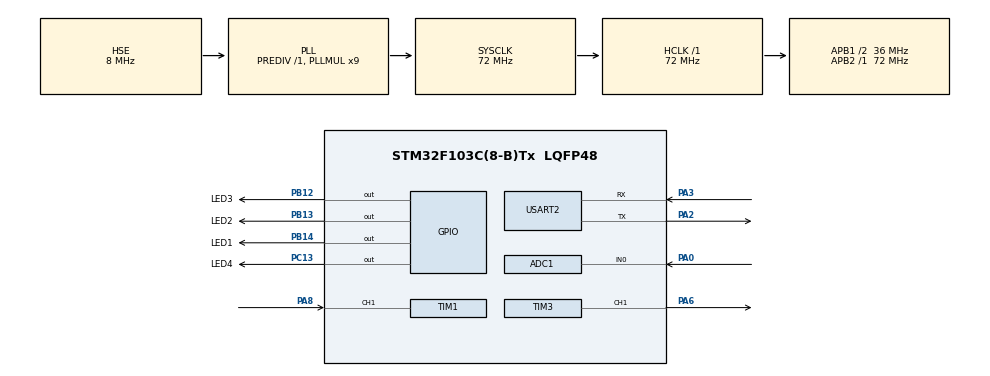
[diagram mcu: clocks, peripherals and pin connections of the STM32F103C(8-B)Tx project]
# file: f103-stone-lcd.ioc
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ADC1.Channel-0\#ChannelRegularConversion=ADC_CHANNEL_0
ADC1.NbrOfConversionFlag=1
ADC1.Rank-0\#ChannelRegularConversion=1
ADC1.SamplingTime-0\#ChannelRegularConversion=ADC_SAMPLETIME_71CYCLES_5
ADC1.master=1
Mcu.Family=STM32F1
Mcu.Name=STM32F103C(8-B)Tx
Mcu.Package=LQFP48
NVIC.PriorityGroup=NVIC_PRIORITYGROUP_4
NVIC.TIM4_IRQn=true\:0\:0\:false\:false\:true\:true\:true
NVIC.USART2_IRQn=true\:0\:0\:false\:false\:true\:true\:true
PA0-WKUP.Signal=ADCx_IN0
PA13.Mode=Serial_Wire
PA13.Signal=SYS_JTMS-SWDIO
PA14.Mode=Serial_Wire
PA14.Signal=SYS_JTCK-SWCLK
PA2.Mode=Asynchronous
PA2.Signal=USART2_TX
PA3.Mode=Asynchronous
PA3.Signal=USART2_RX
PA6.Signal=S_TIM3_CH1
PA8.Signal=S_TIM1_CH1
PB12.GPIO_Label=LED3
PB12.Signal=GPIO_Output
PB13.GPIO_Label=LED2
PB13.Signal=GPIO_Output
PB14.GPIO_Label=LED1
PB14.Signal=GPIO_Output
PC13-TAMPER-RTC.GPIO_Label=LED4
PC13-TAMPER-RTC.Signal=GPIO_Output
PD0-OSC_IN.Mode=HSE-External-Oscillator
PD0-OSC_IN.Signal=RCC_OSC_IN
PD1-OSC_OUT.Mode=HSE-External-Oscillator
PD1-OSC_OUT.Signal=RCC_OSC_OUT
ProjectManager.HeapSize=0x200
ProjectManager.StackSize=0x400
ProjectManager.TargetToolchain=STM32CubeIDE
RCC.ADCPresc=RCC_ADCPCLK2_DIV6
RCC.AHBFreq_Value=72000000
RCC.APB1CLKDivider=RCC_HCLK_DIV2
RCC.APB1Freq_Value=36000000
RCC.APB1TimFreq_Value=72000000
RCC.APB2Freq_Value=72000000
RCC.APB2TimFreq_Value=72000000
RCC.HCLKFreq_Value=72000000
RCC.PLLMUL=RCC_PLL_MUL9
RCC.PLLSourceVirtual=RCC_PLLSOURCE_HSE
RCC.SYSCLKFreq_VALUE=72000000
RCC.SYSCLKSource=RCC_SYSCLKSOURCE_PLLCLK
RCC.USBFreq_Value=72000000
SH.ADCx_IN0.0=ADC1_IN0,IN0
SH.S_TIM1_CH1.0=TIM1_CH1,Input_Capture1_from_TI1
SH.S_TIM3_CH1.0=TIM3_CH1,PWM Generation1 CH1
TIM1.Channel-Input_Capture1_from_TI1=TIM_CHANNEL_1
TIM3.Channel-PWM\ Generation1\ CH1=TIM_CHANNEL_1
TIM3.Period=999
TIM3.Prescaler=71
TIM4.Period=249
TIM4.Prescaler=287
USART2.VirtualMode=VM_ASYNC
VP_TIM4_VS_ClockSourceINT.Mode=Internal
board=custom

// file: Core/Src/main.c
/* USER CODE BEGIN Header */
/**
  ******************************************************************************
  * @file           : main.c
  * @brief          : Main program body
  ******************************************************************************
  * @attention
  *
  * <h2><center>&copy; Copyright (c) 2020 STMicroelectronics.
  * All rights reserved.</center></h2>
  *
  * This software component is licensed by ST under BSD 3-Clause license,
  * the "License"; You may not use this file except in compliance with the
  * License. You may obtain a copy of the License at:
  *                        opensource.org/licenses/BSD-3-Clause
  *
  ******************************************************************************
  */
/* USER CODE END Header */

#include "main.h"

/* USER CODE BEGIN PD */
#define BUFF_SIZE 9
/* USER CODE END PD */

ADC_HandleTypeDef hadc1;

TIM_HandleTypeDef htim1;
TIM_HandleTypeDef htim3;
TIM_HandleTypeDef htim4;

UART_HandleTypeDef huart2;

/* USER CODE BEGIN PV */
uint64_t mMilis = 0, lastTime1 = 0;
uint8_t readData[BUFF_SIZE];

uint8_t uartFlag = 0;

uint16_t adcVal;

// data packets for sending to screen using uart
unsigned char arr[] = {
  0xA5, 0x5A, 0x05, 0x82, 0x19, 0x9A, 0x00, 0x20
};

// (LED Yandi) array
unsigned char arrOn[] = {
  0xA5,0x5A,0x0C,0x82,0x1A,0x1B,0x4C,0x45,0x44,0x20,0x59,0x41,0x4E,0x44,0x49
};

// (LED Sondu) array
unsigned char arrOff[] = {
  0xA5,0x5A,0x0C,0x82,0x1A,0x1B,0x4C,0x45,0x44,0x20,0x53,0x4F,0x4E,0x44,0x55
};
/* USER CODE END PV */

void SystemClock_Config(void);
static void MX_GPIO_Init(void);
static void MX_ADC1_Init(void);
static void MX_TIM4_Init(void);
static void MX_USART2_UART_Init(void);
static void MX_TIM1_Init(void);
static void MX_TIM3_Init(void);
/* USER CODE BEGIN PFP */

// if tim4 interrupt occured increase millis variable
void HAL_TIM_PeriodElapsedCallback(TIM_HandleTypeDef *htim)
{
	if(htim == &htim4)
	{
		mMilis++;
	}
}

// if data received from uart set uart flag variable
void HAL_UART_RxCpltCallback(UART_HandleTypeDef *huart)
{
	uartFlag = 1;
}
/* USER CODE END PFP */

int main(void)
{

  /* MCU Configuration--------------------------------------------------------*/

  /* Reset of all peripherals, Initializes the Flash interface and the Systick. */
  HAL_Init();

  /* Configure the system clock */
  SystemClock_Config();

  /* Initialize all configured peripherals */
  MX_GPIO_Init();
  MX_ADC1_Init();
  MX_TIM4_Init();
  MX_USART2_UART_Init();
  MX_TIM1_Init();
  MX_TIM3_Init();
  /* USER CODE BEGIN 2 */
  HAL_TIM_Base_Start_IT(&htim4);						// start millis timer
  HAL_UART_Receive_IT(&huart2, readData, BUFF_SIZE);	// start receiving uart using interrupt
  HAL_TIM_PWM_Start(&htim3, TIM_CHANNEL_1);				// start pwm
  /* USER CODE END 2 */

  /* Infinite loop */
  /* USER CODE BEGIN WHILE */
  while (1)
  {
	  HAL_UART_Receive_IT(&huart2, readData, BUFF_SIZE);			// start receiving uart using interrupt

	  if(uartFlag)							// if uart packet received
	  {
		  if(readData[0] != 0xA5 && readData[1] != 0x5A) continue;	// check packet first and second bytes

		  uint16_t mAdr = (readData[4] << 8) | (readData[5]);		// get adress from received packet

		  uint16_t mData = (readData[7] << 8) | (readData[8]);		// get value from recived packet

		  switch (mAdr)					// choose adress
		  {
		  	  case 0x16A1:                //button1 adress
		  		HAL_GPIO_TogglePin(LED1_GPIO_Port, LED1_Pin);
		        break;
		      case 0x16A2:                //button2 adress
			  	HAL_GPIO_TogglePin(LED2_GPIO_Port, LED2_Pin);
		        break;
		      case 0x1992:                //switch adress
		    	HAL_GPIO_WritePin(LED3_GPIO_Port, LED3_Pin, (mAdr == 1 ? GPIO_PIN_SET : GPIO_PIN_RESET));
		        if(mData)                 //send string value according to switch status
		        {
		        	HAL_UART_Transmit(&huart2, arrOn, sizeof(arrOn), 1000);
		        }else{
		        	HAL_UART_Transmit(&huart2, arrOff, sizeof(arrOff), 1000);
		        }
		        break;
		  case 0x4001:					  // get slider value and write pwm
			  __HAL_TIM_SET_COMPARE(&htim3, TIM_CHANNEL_1, mData * 10);
			  break;
		  }
		  uartFlag = 0;				// clear uart flag variable
	  }

	  HAL_ADC_Start(&hadc1);					// start adc conversion
	  HAL_ADC_PollForConversion(&hadc1, 1000);		// wait for conversion end
	  adcVal = HAL_ADC_GetValue(&hadc1);			// get adc value
	  adcVal = adcVal / 8;						// scale adc value
	  HAL_ADC_Stop(&hadc1);						// stop adc conversion

	  if(mMilis - lastTime1 > 100)				// make in every 100ms
	  {
		  HAL_GPIO_TogglePin(LED4_GPIO_Port, LED4_Pin);

		  // send high and low bytes of adc value in different bytes
		  uint8_t sendValL = adcVal & 0xFF;
		  uint8_t sendValM = (adcVal & 0xFF00) >> 8;
		  arr[6] = sendValM;
		  arr[7] = sendValL;

		  HAL_UART_Transmit(&huart2, arr, sizeof(arr), 1000);			// send adc value with UART to show in gauge
		  lastTime1 = mMilis;
	  }
    /* USER CODE END WHILE */

  }
}

void SystemClock_Config(void)
{
  RCC_OscInitTypeDef RCC_OscInitStruct = {0};
  RCC_ClkInitTypeDef RCC_ClkInitStruct = {0};
  RCC_PeriphCLKInitTypeDef PeriphClkInit = {0};

  /** Initializes the CPU, AHB and APB busses clocks
  */
  RCC_OscInitStruct.OscillatorType = RCC_OSCILLATORTYPE_HSE;
  RCC_OscInitStruct.HSEState = RCC_HSE_ON;
  RCC_OscInitStruct.HSEPredivValue = RCC_HSE_PREDIV_DIV1;
  RCC_OscInitStruct.HSIState = RCC_HSI_ON;
  RCC_OscInitStruct.PLL.PLLState = RCC_PLL_ON;
  RCC_OscInitStruct.PLL.PLLSource = RCC_PLLSOURCE_HSE;
  RCC_OscInitStruct.PLL.PLLMUL = RCC_PLL_MUL9;
  if (HAL_RCC_OscConfig(&RCC_OscInitStruct) != HAL_OK)
  {
    Error_Handler();
  }
  /** Initializes the CPU, AHB and APB busses clocks
  */
  RCC_ClkInitStruct.ClockType = RCC_CLOCKTYPE_HCLK|RCC_CLOCKTYPE_SYSCLK
                              |RCC_CLOCKTYPE_PCLK1|RCC_CLOCKTYPE_PCLK2;
  RCC_ClkInitStruct.SYSCLKSource = RCC_SYSCLKSOURCE_PLLCLK;
  RCC_ClkInitStruct.AHBCLKDivider = RCC_SYSCLK_DIV1;
  RCC_ClkInitStruct.APB1CLKDivider = RCC_HCLK_DIV2;
  RCC_ClkInitStruct.APB2CLKDivider = RCC_HCLK_DIV1;

  if (HAL_RCC_ClockConfig(&RCC_ClkInitStruct, FLASH_LATENCY_2) != HAL_OK)
  {
    Error_Handler();
  }
  PeriphClkInit.PeriphClockSelection = RCC_PERIPHCLK_ADC;
  PeriphClkInit.AdcClockSelection = RCC_ADCPCLK2_DIV6;
  if (HAL_RCCEx_PeriphCLKConfig(&PeriphClkInit) != HAL_OK)
  {
    Error_Handler();
  }
}

static void MX_ADC1_Init(void)
{

  ADC_ChannelConfTypeDef sConfig = {0};

  /** Common config
  */
  hadc1.Instance = ADC1;
  hadc1.Init.ScanConvMode = ADC_SCAN_DISABLE;
  hadc1.Init.ContinuousConvMode = DISABLE;
  hadc1.Init.DiscontinuousConvMode = DISABLE;
  hadc1.Init.ExternalTrigConv = ADC_SOFTWARE_START;
  hadc1.Init.DataAlign = ADC_DATAALIGN_RIGHT;
  hadc1.Init.NbrOfConversion = 1;
  if (HAL_ADC_Init(&hadc1) != HAL_OK)
  {
    Error_Handler();
  }
  /** Configure Regular Channel
  */
  sConfig.Channel = ADC_CHANNEL_0;
  sConfig.Rank = ADC_REGULAR_RANK_1;
  sConfig.SamplingTime = ADC_SAMPLETIME_71CYCLES_5;
  if (HAL_ADC_ConfigChannel(&hadc1, &sConfig) != HAL_OK)
  {
    Error_Handler();
  }

}

static void MX_TIM1_Init(void)
{

  TIM_MasterConfigTypeDef sMasterConfig = {0};
  TIM_IC_InitTypeDef sConfigIC = {0};

  htim1.Instance = TIM1;
  htim1.Init.Prescaler = 0;
  htim1.Init.CounterMode = TIM_COUNTERMODE_UP;
  htim1.Init.Period = 0;
  htim1.Init.ClockDivision = TIM_CLOCKDIVISION_DIV1;
  htim1.Init.RepetitionCounter = 0;
  htim1.Init.AutoReloadPreload = TIM_AUTORELOAD_PRELOAD_DISABLE;
  if (HAL_TIM_IC_Init(&htim1) != HAL_OK)
  {
    Error_Handler();
  }
  sMasterConfig.MasterOutputTrigger = TIM_TRGO_RESET;
  sMasterConfig.MasterSlaveMode = TIM_MASTERSLAVEMODE_DISABLE;
  if (HAL_TIMEx_MasterConfigSynchronization(&htim1, &sMasterConfig) != HAL_OK)
  {
    Error_Handler();
  }
  sConfigIC.ICPolarity = TIM_INPUTCHANNELPOLARITY_RISING;
  sConfigIC.ICSelection = TIM_ICSELECTION_DIRECTTI;
  sConfigIC.ICPrescaler = TIM_ICPSC_DIV1;
  sConfigIC.ICFilter = 0;
  if (HAL_TIM_IC_ConfigChannel(&htim1, &sConfigIC, TIM_CHANNEL_1) != HAL_OK)
  {
    Error_Handler();
  }

}

static void MX_TIM3_Init(void)
{

  TIM_MasterConfigTypeDef sMasterConfig = {0};
  TIM_OC_InitTypeDef sConfigOC = {0};

  htim3.Instance = TIM3;
  htim3.Init.Prescaler = 71;
  htim3.Init.CounterMode = TIM_COUNTERMODE_UP;
  htim3.Init.Period = 999;
  htim3.Init.ClockDivision = TIM_CLOCKDIVISION_DIV1;
  htim3.Init.AutoReloadPreload = TIM_AUTORELOAD_PRELOAD_DISABLE;
  if (HAL_TIM_PWM_Init(&htim3) != HAL_OK)
  {
    Error_Handler();
  }
  sMasterConfig.MasterOutputTrigger = TIM_TRGO_RESET;
  sMasterConfig.MasterSlaveMode = TIM_MASTERSLAVEMODE_DISABLE;
  if (HAL_TIMEx_MasterConfigSynchronization(&htim3, &sMasterConfig) != HAL_OK)
  {
    Error_Handler();
  }
  sConfigOC.OCMode = TIM_OCMODE_PWM1;
  sConfigOC.Pulse = 0;
  sConfigOC.OCPolarity = TIM_OCPOLARITY_HIGH;
  sConfigOC.OCFastMode = TIM_OCFAST_DISABLE;
  if (HAL_TIM_PWM_ConfigChannel(&htim3, &sConfigOC, TIM_CHANNEL_1) != HAL_OK)
  {
    Error_Handler();
  }
  HAL_TIM_MspPostInit(&htim3);

}

static void MX_TIM4_Init(void)
{

  TIM_ClockConfigTypeDef sClockSourceConfig = {0};
  TIM_MasterConfigTypeDef sMasterConfig = {0};

  htim4.Instance = TIM4;
  htim4.Init.Prescaler = 287;
  htim4.Init.CounterMode = TIM_COUNTERMODE_UP;
  htim4.Init.Period = 249;
  htim4.Init.ClockDivision = TIM_CLOCKDIVISION_DIV1;
  htim4.Init.AutoReloadPreload = TIM_AUTORELOAD_PRELOAD_DISABLE;
  if (HAL_TIM_Base_Init(&htim4) != HAL_OK)
  {
    Error_Handler();
  }
  sClockSourceConfig.ClockSource = TIM_CLOCKSOURCE_INTERNAL;
  if (HAL_TIM_ConfigClockSource(&htim4, &sClockSourceConfig) != HAL_OK)
  {
    Error_Handler();
  }
  sMasterConfig.MasterOutputTrigger = TIM_TRGO_RESET;
  sMasterConfig.MasterSlaveMode = TIM_MASTERSLAVEMODE_DISABLE;
  if (HAL_TIMEx_MasterConfigSynchronization(&htim4, &sMasterConfig) != HAL_OK)
  {
    Error_Handler();
  }

}

static void MX_USART2_UART_Init(void)
{

  huart2.Instance = USART2;
  huart2.Init.BaudRate = 115200;
  huart2.Init.WordLength = UART_WORDLENGTH_8B;
  huart2.Init.StopBits = UART_STOPBITS_1;
  huart2.Init.Parity = UART_PARITY_NONE;
  huart2.Init.Mode = UART_MODE_TX_RX;
  huart2.Init.HwFlowCtl = UART_HWCONTROL_NONE;
  huart2.Init.OverSampling = UART_OVERSAMPLING_16;
  if (HAL_UART_Init(&huart2) != HAL_OK)
  {
    Error_Handler();
  }

}

static void MX_GPIO_Init(void)
{
  GPIO_InitTypeDef GPIO_InitStruct = {0};

  /* GPIO Ports Clock Enable */
  __HAL_RCC_GPIOC_CLK_ENABLE();
  __HAL_RCC_GPIOD_CLK_ENABLE();
  __HAL_RCC_GPIOA_CLK_ENABLE();
  __HAL_RCC_GPIOB_CLK_ENABLE();

  /*Configure GPIO pin Output Level */
  HAL_GPIO_WritePin(LED4_GPIO_Port, LED4_Pin, GPIO_PIN_RESET);

  /*Configure GPIO pin Output Level */
  HAL_GPIO_WritePin(GPIOB, LED3_Pin|LED2_Pin|LED1_Pin, GPIO_PIN_RESET);

  /*Configure GPIO pin : LED4_Pin */
  GPIO_InitStruct.Pin = LED4_Pin;
  GPIO_InitStruct.Mode = GPIO_MODE_OUTPUT_PP;
  GPIO_InitStruct.Pull = GPIO_NOPULL;
  GPIO_InitStruct.Speed = GPIO_SPEED_FREQ_LOW;
  HAL_GPIO_Init(LED4_GPIO_Port, &GPIO_InitStruct);

  /*Configure GPIO pins : LED3_Pin LED2_Pin LED1_Pin */
  GPIO_InitStruct.Pin = LED3_Pin|LED2_Pin|LED1_Pin;
  GPIO_InitStruct.Mode = GPIO_MODE_OUTPUT_PP;
  GPIO_InitStruct.Pull = GPIO_NOPULL;
  GPIO_InitStruct.Speed = GPIO_SPEED_FREQ_LOW;
  HAL_GPIO_Init(GPIOB, &GPIO_InitStruct);

}

void Error_Handler(void)
{
}

/************************ (C) COPYRIGHT STMicroelectronics *****END OF FILE****/
